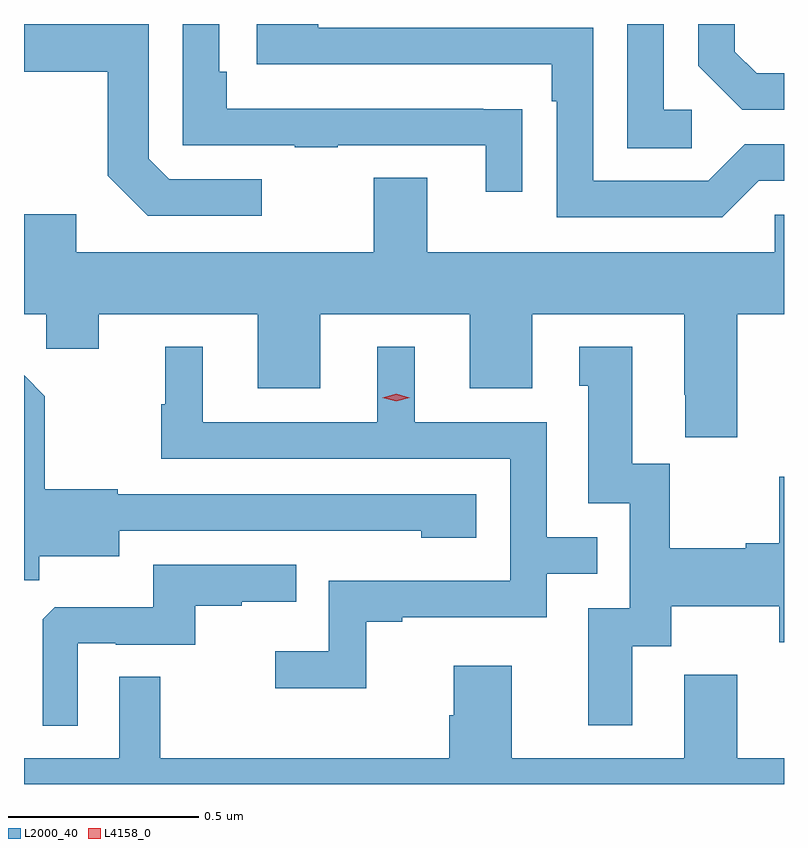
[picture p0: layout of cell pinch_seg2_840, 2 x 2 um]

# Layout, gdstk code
import gdstk
lib = gdstk.Library(unit=1e-6, precision=1e-09)
def P(c, l, *ps):  # polygons
    for p in ps: c.add(gdstk.Polygon(p, *l))
L2000_40 = (2000, 40)
L4158_0 = (4158, 0)

pinch_seg2_840 = lib.new_cell('pinch_seg2_840')
P(pinch_seg2_840, L2000_40, [(690.891,605.364),(690.958,605.364),(690.958,605.46),(690.855,605.46),(690.759,605.364),(690.456,605.364),(690.456,605.766),(689.732,605.766),(689.732,605.776),(689.571,605.776),(689.571,605.67),(690.347,605.67),(690.347,605.573),(690.36,605.573),(690.36,605.268),(690.795,605.268)],
  [(690.269,605.552),(690.167,605.552),(690.167,605.553),(689.492,605.553),(689.492,605.65),(689.472,605.65),(689.472,605.776),(689.376,605.776),(689.376,605.457),(689.671,605.457),(689.671,605.452),(689.783,605.452),(689.783,605.457),(690.173,605.457),(690.173,605.334),(690.269,605.334)],
  [(690.715,605.55),(690.642,605.55),(690.642,605.776),(690.546,605.776),(690.546,605.449),(690.715,605.449)],
  [(690.958,605.646),(690.886,605.646),(690.829,605.703),(690.829,605.776),(690.732,605.776),(690.732,605.666),(690.848,605.55),(690.958,605.55)],
  [(689.584,605.367),(689.34,605.367),(689.286,605.421),(689.286,605.776),(688.958,605.776),(688.958,605.65),(689.178,605.65),(689.178,605.377),(689.283,605.271),(689.584,605.271)],
  [(690.835,605.012),(690.958,605.012),(690.958,605.274),(690.933,605.274),(690.933,605.176),(690.019,605.176),(690.019,605.371),(689.879,605.371),(689.879,605.176),(689.095,605.176),(689.095,605.275),(688.958,605.275),(688.958,605.012),(689.017,605.012),(689.017,604.922),(689.155,604.922),(689.155,605.012),(689.573,605.012),(689.573,604.818),(689.737,604.818),(689.737,605.012),(690.131,605.012),(690.131,604.818),(690.295,604.818),(690.295,605.012),(690.695,605.012),(690.695,604.801),(690.698,604.801),(690.698,604.689),(690.835,604.689)],
  [(690.559,604.138),(690.661,604.138),(690.661,604.244),(690.946,604.244),(690.946,604.149),(690.958,604.149),(690.958,604.585),(690.946,604.585),(690.946,604.409),(690.857,604.409),(690.857,604.396),(690.657,604.396),(690.657,604.619),(690.559,604.619),(690.559,604.927),(690.419,604.927),(690.419,604.824),(690.443,604.824),(690.443,604.515),(690.552,604.515),(690.552,604.239),(690.443,604.239),(690.443,603.93),(690.559,603.93)],
  [(689.859,604.203),(689.953,604.203),(689.953,604.215),(690.333,604.215),(690.333,604.329),(690.467,604.329),(690.467,604.425),(690.333,604.425),(690.333,604.728),(689.986,604.728),(689.986,604.927),(689.888,604.927),(689.888,604.728),(689.428,604.728),(689.428,604.927),(689.33,604.927),(689.33,604.776),(689.319,604.776),(689.319,604.632),(690.237,604.632),(690.237,604.311),(689.76,604.311),(689.76,604.126),(689.619,604.126),(689.619,604.028),(689.859,604.028)],
  [(688.998,604.376),(689.209,604.376),(689.209,604.443),(689.767,604.443),(689.767,604.442),(690.003,604.442),(690.003,604.424),(690.148,604.424),(690.148,604.539),(689.205,604.539),(689.205,604.552),(689.013,604.552),(689.013,604.797),(688.958,604.852),(688.958,604.312),(688.998,604.312)],
  [(689.1,604.146),(689.2,604.146),(689.2,604.143),(689.408,604.143),(689.408,604.245),(689.531,604.245),(689.531,604.256),(689.675,604.256),(689.675,604.353),(689.298,604.353),(689.298,604.241),(689.039,604.241),(689.007,604.209),(689.007,603.929),(689.1,603.929)],
  [(690.958,603.844),(690.835,603.844),(690.835,604.063),(690.695,604.063),(690.695,603.844),(690.241,603.844),(690.241,604.087),(690.089,604.087),(690.089,603.957),(690.077,603.957),(690.077,603.844),(689.317,603.844),(689.317,604.058),(689.208,604.058),(689.208,603.844),(688.958,603.844),(688.958,603.776),(690.958,603.776)])
P(pinch_seg2_840, L4158_0, [(689.937,604.783),(689.901,604.793),(689.901,604.793),(689.901,604.793),(689.937,604.803),(689.973,604.793),(689.973,604.793),(689.973,604.793)])

lib.write_gds('pinch_seg2_840.gds')
